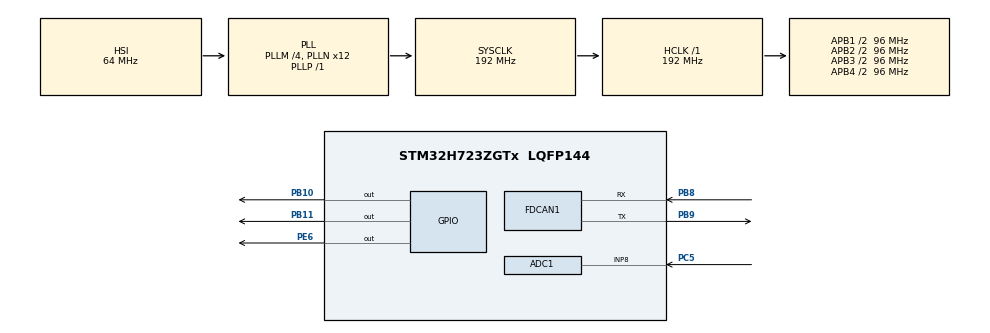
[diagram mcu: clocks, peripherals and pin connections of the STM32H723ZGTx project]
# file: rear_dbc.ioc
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ADC1.Channel-5\#ChannelRegularConversion=ADC_CHANNEL_8
ADC1.NbrOfConversionFlag=1
ADC1.OffsetNumber-5\#ChannelRegularConversion=ADC_OFFSET_NONE
ADC1.OffsetSignedSaturation-5\#ChannelRegularConversion=DISABLE
ADC1.Rank-5\#ChannelRegularConversion=1
ADC1.SamplingTime-5\#ChannelRegularConversion=ADC_SAMPLETIME_1CYCLE_5
ADC1.master=1
CORTEX_M7.AccessPermission_Spec=MPU_REGION_FULL_ACCESS
CORTEX_M7.BaseAddress_Spec=0x30000000
CORTEX_M7.Size_Spec=MPU_REGION_SIZE_32B
CORTEX_M7.TypeExtField_Spec=MPU_TEX_LEVEL1
CORTEX_M7.default_mode_Activation=1
FDCAN1.CalculateBaudRateNominal=1000000
FDCAN1.CalculateTimeBitNominal=1000
FDCAN1.CalculateTimeQuantumNominal=62.5
FDCAN1.NominalPrescaler=6
FDCAN1.NominalTimeSeg1=13
FDCAN1.NominalTimeSeg2=2
FDCAN1.TxFifoQueueElmtsNbr=32
FREERTOS.Tasks01=defaultTask,24,1024,StartDefaultTask,Default,NULL,Dynamic,NULL,NULL;readADC,8,1024,StartADC,Default,NULL,Dynamic,NULL,NULL
FREERTOS.configMINIMAL_STACK_SIZE=1024
Mcu.Family=STM32H7
Mcu.Name=STM32H723ZGTx
Mcu.Package=LQFP144
NVIC.FDCAN1_IT0_IRQn=true\:5\:0\:false\:false\:true\:true\:true\:true\:true
NVIC.FDCAN1_IT1_IRQn=true\:5\:0\:false\:false\:true\:true\:true\:true\:true
NVIC.PriorityGroup=NVIC_PRIORITYGROUP_4
NVIC.TIM6_DAC_IRQn=true\:15\:0\:false\:false\:true\:false\:false\:true\:true
NVIC.TimeBase=TIM6_DAC_IRQn
NVIC.TimeBaseIP=TIM6
PB10.PinState=GPIO_PIN_SET
PB10.Signal=GPIO_Output
PB11.PinState=GPIO_PIN_SET
PB11.Signal=GPIO_Output
PB8.GPIO_PuPd=GPIO_PULLUP
PB8.Mode=FDCAN_Activate
PB8.Signal=FDCAN1_RX
PB9.GPIO_PuPd=GPIO_NOPULL
PB9.Mode=FDCAN_Activate
PB9.Signal=FDCAN1_TX
PC5.Signal=ADCx_INP8
PE6.GPIO_PuPd=GPIO_PULLDOWN
PE6.Signal=GPIO_Output
ProjectManager.HeapSize=0x200
ProjectManager.StackSize=0x400
ProjectManager.TargetToolchain=CMake
RCC.ADCCLockSelection=RCC_ADCCLKSOURCE_CLKP
RCC.ADCFreq_Value=64000000
RCC.APB1Freq_Value=96000000
RCC.APB2Freq_Value=96000000
RCC.APB3Freq_Value=96000000
RCC.APB4Freq_Value=96000000
RCC.CortexFreq_Value=192000000
RCC.D1PPRE=RCC_APB3_DIV2
RCC.D2PPRE1=RCC_APB1_DIV2
RCC.D2PPRE2=RCC_APB2_DIV2
RCC.D3PPRE=RCC_APB4_DIV2
RCC.DIVM1=4
RCC.DIVN1=12
RCC.DIVP1=1
RCC.HCLKFreq_Value=192000000
RCC.PLL2FRACN=0
RCC.PLL3FRACN=0
RCC.PLLFRACN=0
RCC.SYSCLKFreq_VALUE=192000000
RCC.SYSCLKSource=RCC_SYSCLKSOURCE_PLLCLK
RCC.USBFreq_Value=96000000
SH.ADCx_INP8.0=ADC1_INP8,IN8-Single-Ended
VP_FREERTOS_VS_CMSIS_V2.Mode=CMSIS_V2
VP_MEMORYMAP_VS_MEMORYMAP.Mode=CurAppReg
VP_SYS_VS_tim6.Mode=TIM6
board=custom

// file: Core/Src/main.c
/* USER CODE BEGIN Header */
/**
  ******************************************************************************
  * @file           : main.c
  * @brief          : Main program body
  ******************************************************************************
  * @attention
  *
  * Copyright (c) 2026 STMicroelectronics.
  * All rights reserved.
  *
  * This software is licensed under terms that can be found in the LICENSE file
  * in the root directory of this software component.
  * If no LICENSE file comes with this software, it is provided AS-IS.
  *
  ******************************************************************************
  */
/* USER CODE END Header */
#include "main.h"
#include "cmsis_os.h"
#include "adc.h"
#include "fdcan.h"
#include "gpio.h"

void SystemClock_Config(void);
void PeriphCommonClock_Config(void);
static void MPU_Config(void);
void MX_FREERTOS_Init(void);

/* USER CODE BEGIN 0 */
uint16_t *sg1_raw_data = (uint16_t *)0x30000000;

/* USER CODE END 0 */

int main(void)
{

  /* USER CODE BEGIN 1 */
  HAL_GPIO_WritePin(GPIOE, GPIO_PIN_6, GPIO_PIN_RESET);
  /* USER CODE END 1 */

  /* MPU Configuration--------------------------------------------------------*/
  MPU_Config();

  /* MCU Configuration--------------------------------------------------------*/

  /* Reset of all peripherals, Initializes the Flash interface and the Systick. */
  HAL_Init();

  /* Configure the system clock */
  SystemClock_Config();

  /* Configure the peripherals common clocks */
  PeriphCommonClock_Config();

  /* Initialize all configured peripherals */
  MX_GPIO_Init();
  MX_FDCAN1_Init();
  MX_ADC1_Init();

  /* Init scheduler */
  osKernelInitialize();  /* Call init function for freertos objects (in cmsis_os2.c) */
  MX_FREERTOS_Init();

  /* Start scheduler */
  osKernelStart();

  /* We should never get here as control is now taken by the scheduler */

  /* Infinite loop */
  while (1)
  {

  }
}

void SystemClock_Config(void)
{
  RCC_OscInitTypeDef RCC_OscInitStruct = {0};
  RCC_ClkInitTypeDef RCC_ClkInitStruct = {0};

  /** Supply configuration update enable
  */
  HAL_PWREx_ConfigSupply(PWR_LDO_SUPPLY);

  /** Configure the main internal regulator output voltage
  */
  __HAL_PWR_VOLTAGESCALING_CONFIG(PWR_REGULATOR_VOLTAGE_SCALE1);

  while(!__HAL_PWR_GET_FLAG(PWR_FLAG_VOSRDY)) {}

  /** Initializes the RCC Oscillators according to the specified parameters
  * in the RCC_OscInitTypeDef structure.
  */
  RCC_OscInitStruct.OscillatorType = RCC_OSCILLATORTYPE_HSI;
  RCC_OscInitStruct.HSIState = RCC_HSI_DIV1;
  RCC_OscInitStruct.HSICalibrationValue = 64;
  RCC_OscInitStruct.PLL.PLLState = RCC_PLL_ON;
  RCC_OscInitStruct.PLL.PLLSource = RCC_PLLSOURCE_HSI;
  RCC_OscInitStruct.PLL.PLLM = 4;
  RCC_OscInitStruct.PLL.PLLN = 12;
  RCC_OscInitStruct.PLL.PLLP = 1;
  RCC_OscInitStruct.PLL.PLLQ = 2;
  RCC_OscInitStruct.PLL.PLLR = 2;
  RCC_OscInitStruct.PLL.PLLRGE = RCC_PLL1VCIRANGE_3;
  RCC_OscInitStruct.PLL.PLLVCOSEL = RCC_PLL1VCOWIDE;
  RCC_OscInitStruct.PLL.PLLFRACN = 0;
  if (HAL_RCC_OscConfig(&RCC_OscInitStruct) != HAL_OK)
  {
    Error_Handler();
  }

  /** Initializes the CPU, AHB and APB buses clocks
  */
  RCC_ClkInitStruct.ClockType = RCC_CLOCKTYPE_HCLK|RCC_CLOCKTYPE_SYSCLK
                              |RCC_CLOCKTYPE_PCLK1|RCC_CLOCKTYPE_PCLK2
                              |RCC_CLOCKTYPE_D3PCLK1|RCC_CLOCKTYPE_D1PCLK1;
  RCC_ClkInitStruct.SYSCLKSource = RCC_SYSCLKSOURCE_PLLCLK;
  RCC_ClkInitStruct.SYSCLKDivider = RCC_SYSCLK_DIV1;
  RCC_ClkInitStruct.AHBCLKDivider = RCC_HCLK_DIV1;
  RCC_ClkInitStruct.APB3CLKDivider = RCC_APB3_DIV2;
  RCC_ClkInitStruct.APB1CLKDivider = RCC_APB1_DIV2;
  RCC_ClkInitStruct.APB2CLKDivider = RCC_APB2_DIV2;
  RCC_ClkInitStruct.APB4CLKDivider = RCC_APB4_DIV2;

  if (HAL_RCC_ClockConfig(&RCC_ClkInitStruct, FLASH_LATENCY_2) != HAL_OK)
  {
    Error_Handler();
  }
}

void PeriphCommonClock_Config(void)
{
  RCC_PeriphCLKInitTypeDef PeriphClkInitStruct = {0};

  /** Initializes the peripherals clock
  */
  PeriphClkInitStruct.PeriphClockSelection = RCC_PERIPHCLK_CKPER;
  PeriphClkInitStruct.CkperClockSelection = RCC_CLKPSOURCE_HSI;
  if (HAL_RCCEx_PeriphCLKConfig(&PeriphClkInitStruct) != HAL_OK)
  {
    Error_Handler();
  }
}

 /* MPU Configuration */

void MPU_Config(void)
{
  MPU_Region_InitTypeDef MPU_InitStruct = {0};

  /* Disables the MPU */
  HAL_MPU_Disable();

  /** Initializes and configures the Region and the memory to be protected
  */
  MPU_InitStruct.Enable = MPU_REGION_ENABLE;
  MPU_InitStruct.Number = MPU_REGION_NUMBER0;
  MPU_InitStruct.BaseAddress = 0x30000000;
  MPU_InitStruct.Size = MPU_REGION_SIZE_32B;
  MPU_InitStruct.SubRegionDisable = 0x87;
  MPU_InitStruct.TypeExtField = MPU_TEX_LEVEL1;
  MPU_InitStruct.AccessPermission = MPU_REGION_FULL_ACCESS;
  MPU_InitStruct.DisableExec = MPU_INSTRUCTION_ACCESS_DISABLE;
  MPU_InitStruct.IsShareable = MPU_ACCESS_SHAREABLE;
  MPU_InitStruct.IsCacheable = MPU_ACCESS_NOT_CACHEABLE;
  MPU_InitStruct.IsBufferable = MPU_ACCESS_NOT_BUFFERABLE;

  HAL_MPU_ConfigRegion(&MPU_InitStruct);

  /** Initializes and configures the Region and the memory to be protected
  */
  MPU_InitStruct.SubRegionDisable = 0x0;
  HAL_MPU_ConfigRegion(&MPU_InitStruct);
  /* Enables the MPU */
  HAL_MPU_Enable(MPU_PRIVILEGED_DEFAULT);

}

void HAL_TIM_PeriodElapsedCallback(TIM_HandleTypeDef *htim)
{
  if (htim->Instance == TIM6)
  {
    HAL_IncTick();
  }
}

void Error_Handler(void)
{
  __disable_irq();
  while (1)
  {
  }
}

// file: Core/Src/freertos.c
/* USER CODE BEGIN Header */
/**
  ******************************************************************************
  * File Name          : freertos.c
  * Description        : Code for freertos applications
  ******************************************************************************
  */
/* USER CODE END Header */

#include "FreeRTOS.h"
#include "task.h"
#include "main.h"
#include "cmsis_os.h"

/* USER CODE BEGIN Includes */
#include <string.h>
#include <stdlib.h>

#include "adc.h"
#include "fdcan.h"
#include "mochi.h"
#include "semphr.h"
/* USER CODE END Includes */

/* USER CODE BEGIN PD */
#define ICM42670_I2C_ADDR (0x68 << 1) // 0xD0
#define REG_ACCEL_DATA_X1 0x0B
/* USER CODE END PD */

/* USER CODE BEGIN PM */
// Fast median filter for 3 values
static inline int16_t median3(int16_t a, int16_t b, int16_t c) {
  if (a > b) {
    if (b > c) return b;
    else if (a > c) return c;
    else return a;
  } else {
    if (a > c) return a;
    else if (b > c) return c;
    else return b;
  }
}
/* USER CODE END PM */

/* USER CODE BEGIN Variables */
extern uint16_t *sg1_raw_data;
extern uint16_t *sg1_raw_data;
FDCAN_TxHeaderTypeDef TxHeader;

volatile uint16_t  current_strain;

/* USER CODE END Variables */
/* Definitions for defaultTask */
osThreadId_t defaultTaskHandle;
const osThreadAttr_t defaultTask_attributes = {
  .name = "defaultTask",
  .stack_size = 1024 * 4,
  .priority = (osPriority_t) osPriorityNormal,
};
/* Definitions for readADC */
osThreadId_t readADCHandle;
const osThreadAttr_t readADC_attributes = {
  .name = "readADC",
  .stack_size = 1024 * 4,
  .priority = (osPriority_t) osPriorityLow,
};

void StartDefaultTask(void *argument);
void StartADC(void *argument);

void MX_FREERTOS_Init(void); /* (MISRA C 2004 rule 8.1) */

void MX_FREERTOS_Init(void) {

  /* Create the thread(s) */
  /* creation of defaultTask */
  defaultTaskHandle = osThreadNew(StartDefaultTask, NULL, &defaultTask_attributes);

  /* creation of readADC */
  readADCHandle = osThreadNew(StartADC, NULL, &readADC_attributes);

}

/* USER CODE BEGIN Header_StartDefaultTask */
/**
  * @brief  Gemini Slop
  */
/* USER CODE END Header_StartDefaultTask */
void StartDefaultTask(void *argument)
{
  /* USER CODE BEGIN StartDefaultTask */

  HAL_GPIO_WritePin(GPIOB, GPIO_PIN_11, GPIO_PIN_SET);
  HAL_GPIO_WritePin(GPIOB, GPIO_PIN_10, GPIO_PIN_SET);
  osDelay(250);

  // 2. Drive HIGH to initiate self-calibration and enable normal operation
  HAL_GPIO_WritePin(GPIOB, GPIO_PIN_11, GPIO_PIN_RESET);
  HAL_GPIO_WritePin(GPIOB, GPIO_PIN_10, GPIO_PIN_RESET);
  osDelay(250);

  if (HAL_FDCAN_Start(&hfdcan1) != HAL_OK)
  {
    Error_Handler();
  }

  // Base configuration that applies to both messages
  TxHeader.IdType = FDCAN_STANDARD_ID;
  TxHeader.TxFrameType = FDCAN_DATA_FRAME;
  TxHeader.ErrorStateIndicator = FDCAN_ESI_ACTIVE;
  TxHeader.BitRateSwitch = FDCAN_BRS_OFF;
  TxHeader.FDFormat = FDCAN_CLASSIC_CAN;
  TxHeader.TxEventFifoControl = FDCAN_NO_TX_EVENTS;
  TxHeader.MessageMarker = 0;

  /* Infinite loop */
  for(;;)
  {
    HAL_GPIO_WritePin(GPIOB, GPIO_PIN_11, GPIO_PIN_RESET);
    HAL_GPIO_WritePin(GPIOB, GPIO_PIN_10, GPIO_PIN_RESET);
    osDelay(1000);

    // Force EN/CAL HIGH — MCP611 active, output should track gauge
    HAL_GPIO_WritePin(GPIOB, GPIO_PIN_11, GPIO_PIN_SET);
    HAL_GPIO_WritePin(GPIOB, GPIO_PIN_10, GPIO_PIN_SET);
    osDelay(1000);
  }
  /* USER CODE END StartDefaultTask */
}

void StartADC(void *argument)
{
  /* USER CODE BEGIN StartADC */
  uint8_t TxData[8] = {0};

  osDelay(600);

  /* Infinite loop */
  for(;;)
  {
    TxHeader.Identifier = 0x1A4;
    TxHeader.DataLength = FDCAN_DLC_BYTES_2;

    // 1. Manually wake the ADC and trigger a single conversion
    HAL_ADC_Start(&hadc1);

    // 2. Wait up to 10ms for the hardware to finish the measurement
    if (HAL_ADC_PollForConversion(&hadc1, 10) == HAL_OK)
    {
      // 3. Pull the live value directly from the ADC Data Register
      current_strain = HAL_ADC_GetValue(&hadc1);
    }

    // 4. Stop the ADC until the next loop iteration
    HAL_ADC_Stop(&hadc1);

    // Pack the 16-bit integer into the CAN payload buffer (Little-Endian)
    TxData[0] = (uint8_t)(current_strain & 0xFF);
    TxData[1] = (uint8_t)((current_strain >> 8) & 0xFF);

    // Queue the message onto the FDCAN bus
    HAL_FDCAN_AddMessageToTxFifoQ(&hfdcan1, &TxHeader, TxData);

    osDelay(10); // Poll at 100 Hz
  }
  /* USER CODE END StartADC */
}

/* USER CODE BEGIN Application */
/**
* @brief Function implementing the ReadIMU thread.
*/

/* USER CODE END Application */
